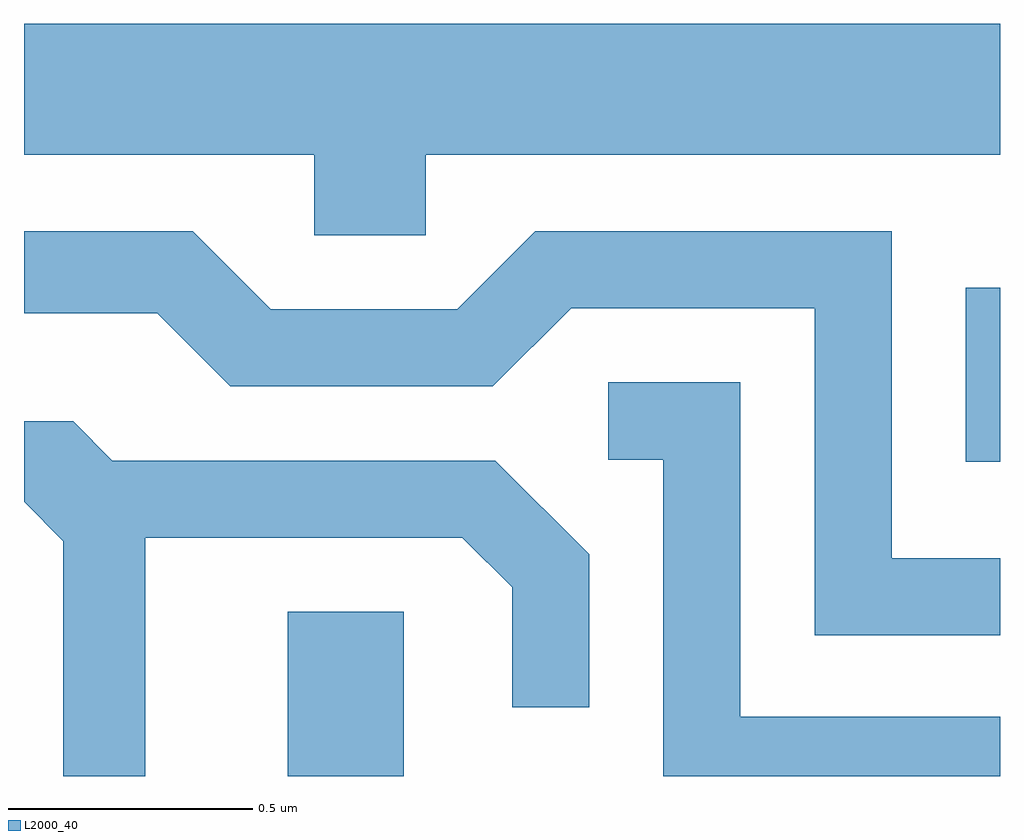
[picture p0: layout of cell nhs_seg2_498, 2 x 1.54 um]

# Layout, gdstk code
import gdstk
lib = gdstk.Library(unit=1e-6, precision=1e-09)
def R(c, l, rs):  # rectangles x0, y0, x1, y1
    for r in rs: c.add(gdstk.rectangle(r[:2], r[2:], *l))
def P(c, l, *ps):  # polygons
    for p in ps: c.add(gdstk.Polygon(p, *l))
L2000_40 = (2000, 40)

nhs_seg2_498 = lib.new_cell('nhs_seg2_498')
R(nhs_seg2_498, L2000_40, [(189.151,1064.802,189.389,1065.139), (190.541,1065.446,190.611,1065.803)])
P(nhs_seg2_498, L2000_40, [(189.434,1066.076),(190.611,1066.076),(190.611,1066.344),(188.611,1066.344),(188.611,1066.076),(189.206,1066.076),(189.206,1065.911),(189.434,1065.911)],
  [(190.611,1065.249),(190.389,1065.249),(190.389,1065.919),(189.659,1065.919),(189.499,1065.759),(189.117,1065.759),(188.957,1065.919),(188.611,1065.919),(188.611,1065.751),(188.884,1065.751),(189.034,1065.601),(189.572,1065.601),(189.732,1065.761),(190.231,1065.761),(190.231,1065.091),(190.611,1065.091)],
  [(190.611,1064.924),(190.079,1064.924),(190.079,1065.609),(189.808,1065.609),(189.808,1065.451),(189.921,1065.451),(189.921,1064.802),(190.611,1064.802)],
  [(188.859,1065.291),(189.509,1065.291),(189.611,1065.189),(189.611,1064.943),(189.769,1064.943),(189.769,1065.257),(189.577,1065.449),(188.792,1065.449),(188.712,1065.529),(188.611,1065.529),(188.611,1065.364),(188.691,1065.284),(188.691,1064.802),(188.859,1064.802)])

lib.write_gds('nhs_seg2_498.gds')
